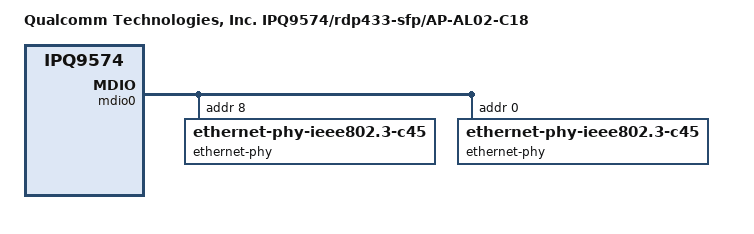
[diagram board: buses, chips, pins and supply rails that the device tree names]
// SPDX-License-Identifier: (GPL-2.0+ OR BSD-3-Clause)
/*
 * IPQ9574 AL02-C18 board device tree source
 *
 * Copyright (c) 2022, 2025 Qualcomm Innovation Center, Inc. All rights reserved.
 */

/dts-v1/;

#include "ipq9574-rdp433.dts"

/ {
	model = "Qualcomm Technologies, Inc. IPQ9574/rdp433-sfp/AP-AL02-C18";
	compatible = "qcom,ipq9574-ap-al02-c18", "qcom,ipq9574-rdp433-sfp", "qcom,ipq9574";

	soc@0 {
		pinctrl@1000000 {
			sfp_pins: sfp_state {
				sfp_rx {
					pins = "gpio46";
					function = "rx1";
					bias-disable;
				};

				sfp_tx {
					pins = "gpio60";
					function = "gpio";
					drive-strength = <8>;
					bias-pull-down;
					output-low;
				};
			};
		};

		dp1 {
			reg = <0x3a500000 0x4000>;
			qcom,mactype = <1>;
			qcom,phy-mdio-addr = <30>;
		};

		dp2 {
			qcom,id = <5>;
			reg = <0x3a510000 0x4000>;
			qcom,mactype = <1>;
			qcom,phy-mdio-addr = <8>;
			phy-mode = "usxgmii";
		};

		dp3 {
			qcom,id = <6>;
			reg = <0x3a514000 0x4000>;
			qcom,mactype = <1>;
			qcom,phy-mdio-addr = <0>;
			phy-mode = "usxgmii";
		};

		/delete-node/ dp4;
		/delete-node/ dp5;
		/delete-node/ dp6;

		mdio0:mdio@90000 {
			/delete-property/phy-reset-gpio;

			ethernet-phy@0 {
				compatible ="ethernet-phy-ieee802.3-c45";
				reg = <8>;
			};
			ethernet-phy@1 {
				compatible ="ethernet-phy-ieee802.3-c45";
				reg = <0>;
			};
			/delete-node/ ethernet-phy-package@0;
			/delete-node/ ethernet-phy@4;
			/delete-node/ ethernet-phy@5;
		};

		ess-instance {
			ess-switch@3a000000 {
				pinctrl-0 = <&sfp_pins>;
				pinctrl-names = "default";
				switch_lan_bmp = <0x22>; /* lan port bitmap */
				switch_mac_mode = <0xe>; /* mac mode for uniphy instance0*/
				bm_tick_mode = <1>; /* bm tick mode */
				tm_tick_mode = <1>; /* tm tick mode */

				qcom,port_phyinfo {
					port@0 {
						port_id = <1>;
						phy_address = <30>;
						media-type = "sfp"; /* fiber mode */
					};
					/delete-node/ port@1;
					/delete-node/ port@2;
					/delete-node/ port@3;
				};
			};
		};
	};
};
